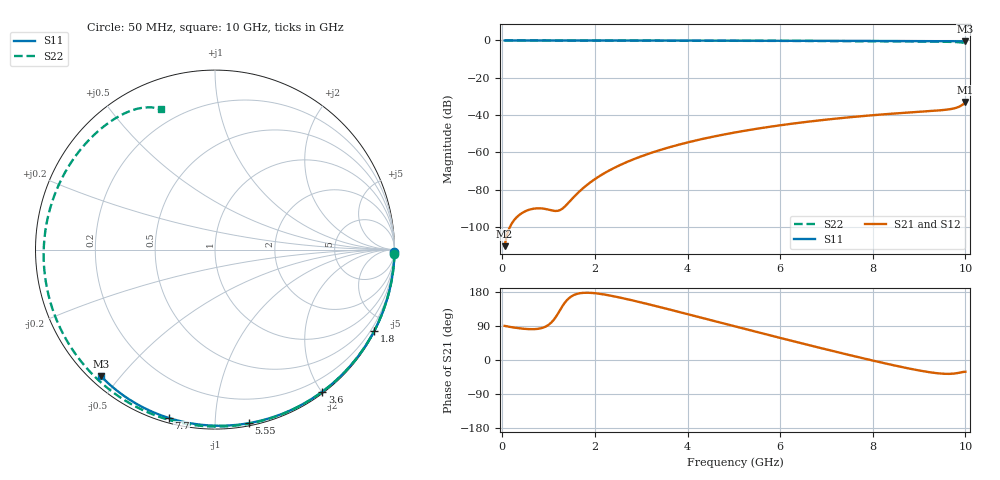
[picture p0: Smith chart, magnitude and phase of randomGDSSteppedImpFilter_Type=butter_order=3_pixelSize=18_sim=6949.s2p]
! freq	dB(S11)	phase(S11)	dB(S12)	phase(S12)
!  dB(S21)	phase(S21)	dB(S22)	phase(S22)
!S-par simulation data
#  GHz  S  DB  R 50
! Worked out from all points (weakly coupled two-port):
!   200 points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, 50 MHz to 10 GHz, reference 50 ohm
!   highest |S21| = -33.01 dB at 10 GHz (marker M1); lowest = -110.2 dB at 50 MHz (marker M2)
!   lowest |S11| = -0.5 dB at 10 GHz (marker M3), VSWR 38.31, Z = 1.57 - j22.3 ohm
!   |S11| at or under -10 dB: nowhere
!   |S22| runs from -1.5 to 0.0 dB; largest |S21 - S12| = 0
!   S11 on the Smith chart (normalised r, x): 50 MHz: open; 1.8 GHz: 0.04, -4.16; 3.6 GHz: 0.02, -2.01; 5.55 GHz: 0.02, -1.21; 7.7 GHz: 0.02, -0.76; 10 GHz: 0.03, -0.45
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0.05  -0.00 -0.8  -110.17 90.1  -110.17 90.1  -0.00 -1.3
0.85  -0.02 -12.9  -89.95 84.2  -89.95 84.2  -0.02 -21.4
1.7  -0.03 -25.6  -80.08 176.6  -80.08 176.6  -0.05 -42.3
1.75  -0.03 -26.3  -78.98 177.2  -78.98 177.2  -0.06 -43.5
1.8  -0.03 -27.0  -77.95 177.5  -77.95 177.5  -0.06 -44.7
2.1  -0.04 -31.4  -72.64 174.7  -72.64 174.7  -0.07 -52.0
2.45  -0.05 -36.5  -67.83 167.1  -67.83 167.1  -0.08 -60.3
2.9  -0.06 -43.0  -63.00 154.7  -63.00 154.7  -0.09 -70.7
3.4  -0.07 -50.1  -58.73 139.7  -58.73 139.7  -0.11 -82.2
3.6  -0.07 -52.9  -57.26 133.6  -57.26 133.6  -0.12 -86.7
4.3  -0.09 -62.5  -52.88 111.6  -52.88 111.6  -0.14 -102.2
5.05  -0.11 -72.5  -49.15 88.0  -49.15 88.0  -0.18 -118.5
5.55  -0.13 -78.9  -47.08 72.3  -47.08 72.3  -0.21 -129.3
6.7  -0.18 -93.4  -43.22 36.9  -43.22 36.9  -0.30 -154.5
7.2  -0.21 -99.4  -41.87 21.8  -41.87 21.8  -0.34 -165.9
7.7  -0.24 -105.4  -40.67 7.1  -40.67 7.1  -0.40 -177.6
8.35  -0.29 -113.0  -39.34 -11.2  -39.34 -11.2  -0.47 166.1
8.85  -0.33 -118.8  -38.46 -24.1  -38.46 -24.1  -0.54 152.6
9.35  -0.38 -124.5  -37.62 -34.3  -37.62 -34.3  -0.63 137.8
9.8  -0.43 -129.6  -36.08 -35.1  -36.08 -35.1  -0.86 121.5
9.9  -0.44 -130.8  -35.03 -32.8  -35.03 -32.8  -1.05 116.8
10  -0.45 -131.9  -33.01 -31.0  -33.01 -31.0  -1.52 111.2
